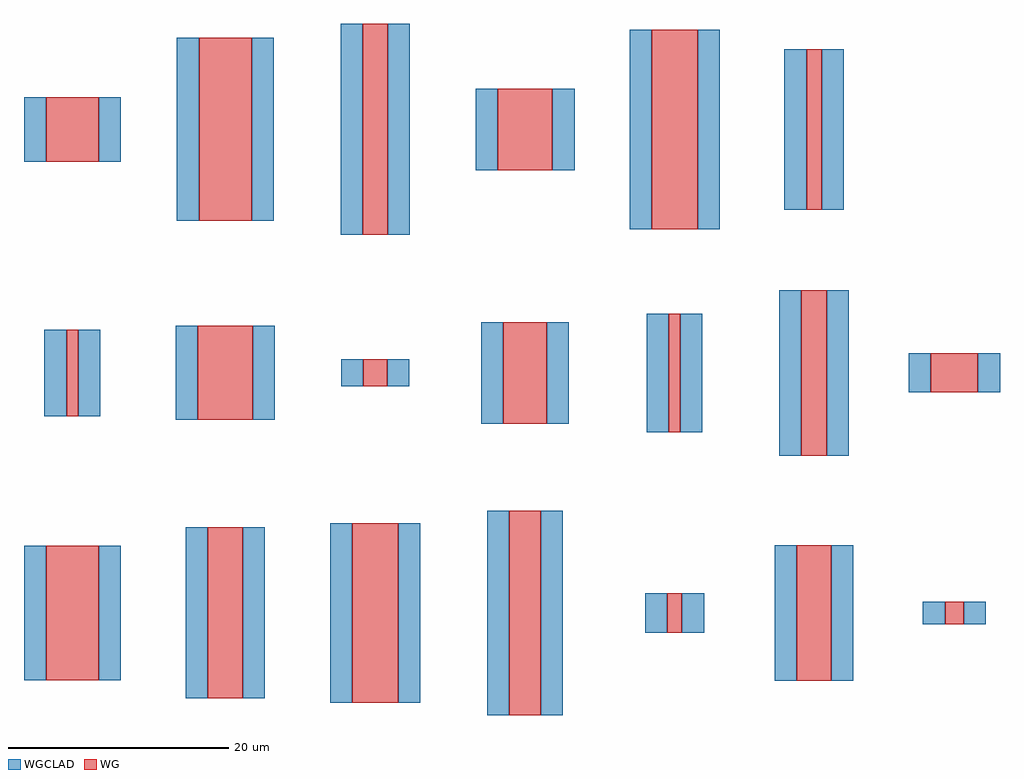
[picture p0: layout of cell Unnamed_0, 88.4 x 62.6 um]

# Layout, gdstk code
from math import pi, radians
import gdstk
lib = gdstk.Library(unit=1e-6, precision=1e-09)
def R(c, l, rs):  # rectangles x0, y0, x1, y1
    for r in rs: c.add(gdstk.rectangle(r[:2], r[2:], *l))
WG = (1, 0)
WGCLAD = (111, 0)

straight_cssym_f7fe636c_ = lib.new_cell('straight_CSsym_f7fe636c_4758_L5839')
R(straight_cssym_f7fe636c_, WG, [(0,-2.379,5.839,2.379)])
R(straight_cssym_f7fe636c_, WGCLAD, [(0,-4.379,5.839,-2.379), (0,2.379,5.839,4.379)])

c_straight_cssym_f7fe636c_ = lib.new_cell('straight_CSsym_f7fe636c_4278_L3520')
R(c_straight_cssym_f7fe636c_, WG, [(0,-2.139,3.52,2.139)])
R(c_straight_cssym_f7fe636c_, WGCLAD, [(0,-4.139,3.52,-2.139), (0,2.139,3.52,4.139)])

c_straight_cssym_f7fe636c__ = lib.new_cell('straight_CSsym_f7fe636c_4748_L12171')
R(c_straight_cssym_f7fe636c__, WG, [(0,-2.374,12.171,2.374)])
R(c_straight_cssym_f7fe636c__, WGCLAD, [(0,-4.374,12.171,-2.374), (0,2.374,12.171,4.374)])

c_straight_cssym_f7fe636c___ = lib.new_cell('straight_CSsym_f7fe636c_3166_L15486')
R(c_straight_cssym_f7fe636c___, WG, [(0,-1.583,15.486,1.583)])
R(c_straight_cssym_f7fe636c___, WGCLAD, [(0,-3.583,15.486,-1.583), (0,1.583,15.486,3.583)])

c_straight_cssym_f7fe636c____ = lib.new_cell('straight_CSsym_f7fe636c_4194_L16244')
R(c_straight_cssym_f7fe636c____, WG, [(0,-2.097,16.244,2.097)])
R(c_straight_cssym_f7fe636c____, WGCLAD, [(0,-4.097,16.244,-2.097), (0,2.097,16.244,4.097)])

c_straight_cssym_f7fe636c_____ = lib.new_cell('straight_CSsym_f7fe636c_2832_L18496')
R(c_straight_cssym_f7fe636c_____, WG, [(0,-1.416,18.496,1.416)])
R(c_straight_cssym_f7fe636c_____, WGCLAD, [(0,-3.416,18.496,-1.416), (0,1.416,18.496,3.416)])

c_straight_cssym_f7fe636c______ = lib.new_cell('straight_CSsym_f7fe636c_1318_L3595')
R(c_straight_cssym_f7fe636c______, WG, [(0,-0.659,3.595,0.659)])
R(c_straight_cssym_f7fe636c______, WGCLAD, [(0,-2.659,3.595,-0.659), (0,0.659,3.595,2.659)])

c_straight_cssym_f7fe636c_______ = lib.new_cell('straight_CSsym_f7fe636c_3120_L12270')
R(c_straight_cssym_f7fe636c_______, WG, [(0,-1.56,12.27,1.56)])
R(c_straight_cssym_f7fe636c_______, WGCLAD, [(0,-3.56,12.27,-1.56), (0,1.56,12.27,3.56)])

c_straight_cssym_f7fe636c________ = lib.new_cell('straight_CSsym_f7fe636c_4770_L16569')
R(c_straight_cssym_f7fe636c________, WG, [(0,-2.385,16.569,2.385)])
R(c_straight_cssym_f7fe636c________, WGCLAD, [(0,-4.385,16.569,-2.385), (0,2.385,16.569,4.385)])

c_straight_cssym_f7fe636c_________ = lib.new_cell('straight_CSsym_f7fe636c_1684_L2066')
R(c_straight_cssym_f7fe636c_________, WG, [(0,-0.842,2.066,0.842)])
R(c_straight_cssym_f7fe636c_________, WGCLAD, [(0,-2.842,2.066,-0.842), (0,0.842,2.066,2.842)])

c_straight_cssym_f7fe636c__________ = lib.new_cell('straight_CSsym_f7fe636c_2286_L19115')
R(c_straight_cssym_f7fe636c__________, WG, [(0,-1.143,19.115,1.143)])
R(c_straight_cssym_f7fe636c__________, WGCLAD, [(0,-3.143,19.115,-1.143), (0,1.143,19.115,3.143)])

c_straight_cssym_f7fe636c___________ = lib.new_cell('straight_CSsym_f7fe636c_1056_L7820')
R(c_straight_cssym_f7fe636c___________, WG, [(0,-0.528,7.82,0.528)])
R(c_straight_cssym_f7fe636c___________, WGCLAD, [(0,-2.528,7.82,-0.528), (0,0.528,7.82,2.528)])

c_straight_cssym_f7fe636c____________ = lib.new_cell('straight_CSsym_f7fe636c_4956_L7416')
R(c_straight_cssym_f7fe636c____________, WG, [(0,-2.478,7.416,2.478)])
R(c_straight_cssym_f7fe636c____________, WGCLAD, [(0,-4.478,7.416,-2.478), (0,2.478,7.416,4.478)])

c_straight_cssym_f7fe636c_____________ = lib.new_cell('straight_CSsym_f7fe636c_4958_L8529')
R(c_straight_cssym_f7fe636c_____________, WG, [(0,-2.479,8.529,2.479)])
R(c_straight_cssym_f7fe636c_____________, WGCLAD, [(0,-4.479,8.529,-2.479), (0,2.479,8.529,4.479)])

c_straight_cssym_f7fe636c______________ = lib.new_cell('straight_CSsym_f7fe636c_4136_L18093')
R(c_straight_cssym_f7fe636c______________, WG, [(0,-2.068,18.093,2.068)])
R(c_straight_cssym_f7fe636c______________, WGCLAD, [(0,-4.068,18.093,-2.068), (0,2.068,18.093,4.068)])

c_straight_cssym_f7fe636c_______________ = lib.new_cell('straight_CSsym_f7fe636c_2160_L2458')
R(c_straight_cssym_f7fe636c_______________, WG, [(0,-1.08,2.458,1.08)])
R(c_straight_cssym_f7fe636c_______________, WGCLAD, [(0,-3.08,2.458,-1.08), (0,1.08,2.458,3.08)])

c_straight_cssym_f7fe636c________________ = lib.new_cell('straight_CSsym_f7fe636c_1374_L14553')
R(c_straight_cssym_f7fe636c________________, WG, [(0,-0.687,14.553,0.687)])
R(c_straight_cssym_f7fe636c________________, WGCLAD, [(0,-2.687,14.553,-0.687), (0,0.687,14.553,2.687)])

c_straight_cssym_f7fe636c_________________ = lib.new_cell('straight_CSsym_f7fe636c_3946_L9204')
R(c_straight_cssym_f7fe636c_________________, WG, [(0,-1.973,9.204,1.973)])
R(c_straight_cssym_f7fe636c_________________, WGCLAD, [(0,-3.973,9.204,-1.973), (0,1.973,9.204,3.973)])

c_straight_cssym_f7fe636c__________________ = lib.new_cell('straight_CSsym_f7fe636c_1038_L10733')
R(c_straight_cssym_f7fe636c__________________, WG, [(0,-0.519,10.733,0.519)])
R(c_straight_cssym_f7fe636c__________________, WGCLAD, [(0,-2.519,10.733,-0.519), (0,0.519,10.733,2.519)])

c_straight_cssym_f7fe636c___________________ = lib.new_cell('straight_CSsym_f7fe636c_2290_L14988')
R(c_straight_cssym_f7fe636c___________________, WG, [(0,-1.145,14.988,1.145)])
R(c_straight_cssym_f7fe636c___________________, WGCLAD, [(0,-3.145,14.988,-1.145), (0,1.145,14.988,3.145)])

unnamed_0 = lib.new_cell('Unnamed_0')
unnamed_0.add(gdstk.Reference(straight_cssym_f7fe636c_, (0,55.122), rotation=pi/2))
unnamed_0.add(gdstk.Reference(c_straight_cssym_f7fe636c_, (79.882,34.23), rotation=pi/2))
unnamed_0.add(gdstk.Reference(c_straight_cssym_f7fe636c__, (0,8.163), rotation=pi/2))
unnamed_0.add(gdstk.Reference(c_straight_cssym_f7fe636c___, (13.858,6.505), rotation=pi/2))
unnamed_0.add(gdstk.Reference(c_straight_cssym_f7fe636c____, (27.434,6.126), rotation=pi/2))
unnamed_0.add(gdstk.Reference(c_straight_cssym_f7fe636c_____, (41.009,5), rotation=pi/2))
unnamed_0.add(gdstk.Reference(c_straight_cssym_f7fe636c______, (54.555,12.451), rotation=pi/2))
unnamed_0.add(gdstk.Reference(c_straight_cssym_f7fe636c_______, (67.183,8.113), rotation=pi/2))
unnamed_0.add(gdstk.Reference(c_straight_cssym_f7fe636c________, (13.858,49.757), rotation=pi/2))
unnamed_0.add(gdstk.Reference(c_straight_cssym_f7fe636c_________, (79.882,13.215), rotation=pi/2))
unnamed_0.add(gdstk.Reference(c_straight_cssym_f7fe636c__________, (27.434,48.484), rotation=pi/2))
unnamed_0.add(gdstk.Reference(c_straight_cssym_f7fe636c___________, (0,32.08), rotation=pi/2))
unnamed_0.add(gdstk.Reference(c_straight_cssym_f7fe636c____________, (41.009,54.333), rotation=pi/2))
unnamed_0.add(gdstk.Reference(c_straight_cssym_f7fe636c_____________, (13.858,31.726), rotation=pi/2))
unnamed_0.add(gdstk.Reference(c_straight_cssym_f7fe636c______________, (54.555,48.995), rotation=pi/2))
unnamed_0.add(gdstk.Reference(c_straight_cssym_f7fe636c_______________, (27.434,34.761), rotation=pi/2))
unnamed_0.add(gdstk.Reference(c_straight_cssym_f7fe636c________________, (67.183,50.765), rotation=pi/2))
unnamed_0.add(gdstk.Reference(c_straight_cssym_f7fe636c_________________, (41.009,31.388), rotation=pi/2))
unnamed_0.add(gdstk.Reference(c_straight_cssym_f7fe636c__________________, (54.555,30.624), rotation=pi/2))
unnamed_0.add(gdstk.Reference(c_straight_cssym_f7fe636c___________________, (67.183,28.496), rotation=pi/2))

lib.write_gds('Unnamed_0.gds')
